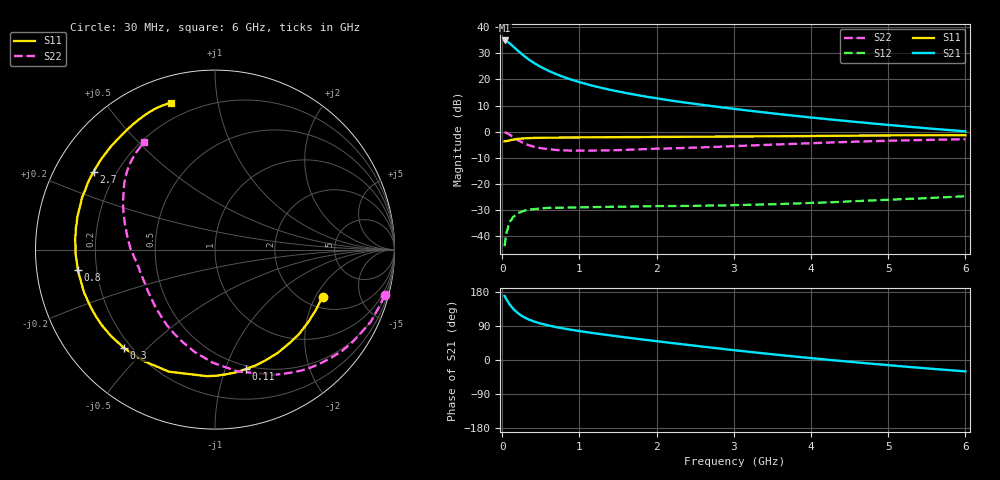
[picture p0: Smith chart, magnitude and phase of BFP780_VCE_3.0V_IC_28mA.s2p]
! Infineon Technologies  Discrete & RF Semiconductors
! BFP780
! VCE =  3.0 V,  IC =  28 mA
! Common Emitter S-Parameters:  Jul 2015
# GHz  S  MA  R  50
!  f  S11  S21  S12  S22
! GHz  MAG  ANG  MAG  ANG  MAG  ANG  MAG  ANG
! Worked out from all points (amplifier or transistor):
!   75 points, 30 MHz to 6 GHz, reference 50 ohm
!   highest |S21| = 35.0 dB at 30 MHz (marker M1)
!   |S21| within 3 dB of that: start of sweep to 166.8 MHz
!   unconditionally stable (mu >= 1): 2.213 GHz to end of sweep
!   at 150 MHz: K = 0.09, MSG = 32.5 dB, |S12| = -32.5 dB
!   at 2.3 GHz: K = 1.03, MAG = 18.9 dB, |S12| = -28.5 dB
!   at 6 GHz: K = 1.36, MAG = 8.9 dB, |S12| = -24.7 dB
!   S11 on the Smith chart (normalised r, x): 30 MHz: 2.49, -2.29; 110 MHz: 0.47, -1.18; 300 MHz: 0.17, -0.43; 800 MHz: 0.13, -0.07; 2.7 GHz: 0.12, +0.29; 6 GHz: 0.12, +0.74
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0.03  0.6543 -23.7  55.95 168.8  0.0064 75.3  0.9792 -15.1
0.05  0.6583 -38.3  54.44 161.3  0.0107 76.2  0.9564 -24.8
0.07  0.6664 -51.9  52.3 154.7  0.0134 67.3  0.9225 -34.1
0.09  0.6772 -64.4  49.7 148.5  0.0179 60.3  0.8842 -42.9
0.11  0.6876 -75.3  47.02 142.9  0.02 55.0  0.8459 -51.0
0.15  0.7066 -93.8  41.72 133.4  0.0237 47.8  0.7702 -64.9
0.2  0.7271 -110.7  35.77 124.0  0.0274 39.8  0.6902 -79.5
0.25  0.738 -123.1  30.9 116.7  0.0293 33.8  0.63 -91.2
0.3  0.7467 -132.8  26.95 111.0  0.0311 29.4  0.5818 -101.2
0.35  0.7533 -140.2  23.77 106.3  0.0321 25.9  0.5458 -109.3
0.4  0.7582 -146.1  21.21 102.4  0.0327 23.4  0.5194 -116.3
0.5  0.7627 -155.1  17.37 96.1  0.0339 19.8  0.4828 -127.4
0.6  0.7678 -161.8  14.64 91.0  0.0347 17.1  0.4615 -136.0
0.8  0.7725 -171.4  11.09 83.0  0.0351 14.2  0.4393 -148.5
1.1  0.7771 178.6  8.08 73.3  0.0357 12.3  0.4321 -160.9
1.5  0.7845 169.0  5.895 62.3  0.0365 10.9  0.4434 -171.3
2.1  0.7952 157.4  4.127 47.2  0.0375 10.8  0.4743 177.7
2.7  0.8031 147.3  3.11 32.9  0.0384 11.3  0.5069 167.6
3.1  0.8101 140.9  2.628 23.8  0.0394 12.4  0.5352 161.0
4.1  0.8281 126.5  1.806 3.0  0.0436 14.3  0.6088 146.7
5.1  0.85 115.0  1.309 -15.4  0.0503 13.9  0.6748 134.3
6  0.8551 106.7  1.014 -30.1  0.0579 11.1  0.7175 123.4
